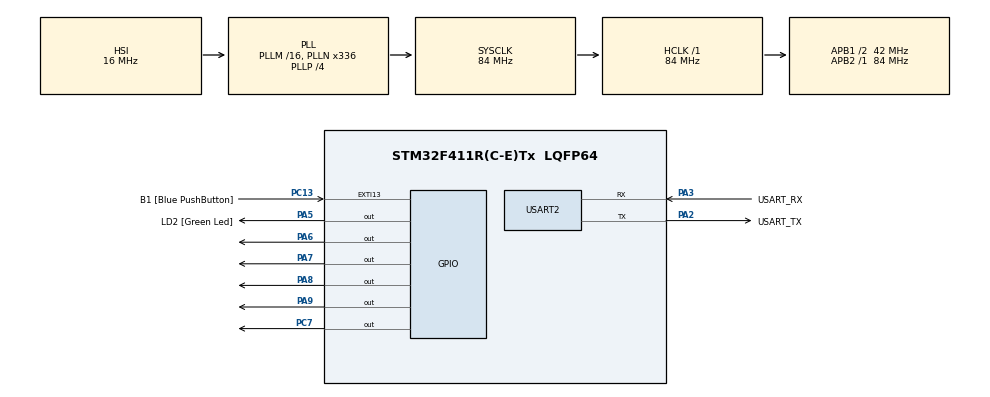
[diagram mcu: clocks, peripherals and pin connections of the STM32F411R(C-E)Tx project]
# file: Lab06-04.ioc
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FREERTOS.Queues01=task_queue,16,uint32_t,0,Dynamic,NULL,NULL
FREERTOS.Tasks01=defaultTask,24,128,StartDefaultTask,Default,NULL,Dynamic,NULL,NULL;led_blue,8,128,led_thread_blue,Default,NULL,Dynamic,NULL,NULL;led_green,8,128,led_thread_green,Default,NULL,Dynamic,NULL,NULL;led_white,8,128,led_thread_white,Default,NULL,Dynamic,NULL,NULL;led_red,8,128,led_thread_red,Default,NULL,Dynamic,NULL,NULL;uart1,24,128,uart_thread,Default,NULL,Dynamic,NULL,NULL;uart2,24,128,uart2_thread,Default,NULL,Dynamic,NULL,NULL;queue,24,128,queue_thread,Default,NULL,Dynamic,NULL,NULL
FREERTOS.configUSE_NEWLIB_REENTRANT=1
Mcu.Family=STM32F4
Mcu.Name=STM32F411R(C-E)Tx
Mcu.Package=LQFP64
NVIC.PriorityGroup=NVIC_PRIORITYGROUP_4
PA13.GPIO_Label=TMS
PA13.Mode=Serial_Wire
PA13.Signal=SYS_JTMS-SWDIO
PA14.GPIO_Label=TCK
PA14.Mode=Serial_Wire
PA14.Signal=SYS_JTCK-SWCLK
PA2.GPIO_Label=USART_TX
PA2.Mode=Asynchronous
PA2.Signal=USART2_TX
PA3.GPIO_Label=USART_RX
PA3.Mode=Asynchronous
PA3.Signal=USART2_RX
PA5.GPIO_Label=LD2 [Green Led]
PA5.Signal=GPIO_Output
PA6.Signal=GPIO_Output
PA7.Signal=GPIO_Output
PA8.Signal=GPIO_Output
PA9.Signal=GPIO_Output
PB3.GPIO_Label=SWO
PB3.Signal=SYS_JTDO-SWO
PC13-ANTI_TAMP.GPIO_Label=B1 [Blue PushButton]
PC13-ANTI_TAMP.GPIO_ModeDefaultEXTI=GPIO_MODE_IT_FALLING
PC13-ANTI_TAMP.Signal=GPXTI13
PC14-OSC32_IN.Mode=LSE-External-Oscillator
PC14-OSC32_IN.Signal=RCC_OSC32_IN
PC15-OSC32_OUT.Mode=LSE-External-Oscillator
PC15-OSC32_OUT.Signal=RCC_OSC32_OUT
PC7.Signal=GPIO_Output
PH0\ -\ OSC_IN.Mode=HSE-External-Clock-Source
PH0\ -\ OSC_IN.Signal=RCC_OSC_IN
PH1\ -\ OSC_OUT.Mode=HSE-External-Clock-Source
PH1\ -\ OSC_OUT.Signal=RCC_OSC_OUT
ProjectManager.HeapSize=0x200
ProjectManager.StackSize=0x400
ProjectManager.TargetToolchain=STM32CubeIDE
RCC.48MHZClocksFreq_Value=84000000
RCC.AHBFreq_Value=84000000
RCC.APB1CLKDivider=RCC_HCLK_DIV2
RCC.APB1Freq_Value=42000000
RCC.APB1TimFreq_Value=84000000
RCC.APB2Freq_Value=84000000
RCC.APB2TimFreq_Value=84000000
RCC.CortexFreq_Value=84000000
RCC.FLatency-AdvancedSettings=FLASH_LATENCY_2
RCC.HCLKFreq_Value=84000000
RCC.HSE_VALUE=8000000
RCC.HSI_VALUE=16000000
RCC.PLLN=336
RCC.PLLP=RCC_PLLP_DIV4
RCC.SYSCLKFreq_VALUE=84000000
RCC.SYSCLKSource=RCC_SYSCLKSOURCE_PLLCLK
RCC.VCOOutputFreq_Value=336000000
USART2.VirtualMode=VM_ASYNC
VP_FREERTOS_VS_CMSIS_V2.Mode=CMSIS_V2
board=NUCLEO-F411RE

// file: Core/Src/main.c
/* USER CODE BEGIN Header */
/**
  ******************************************************************************
  * @file           : main.c
  * @brief          : Main program body
  ******************************************************************************
  * @attention
  *
  * Copyright (c) 2024 STMicroelectronics.
  * All rights reserved.
  *
  * This software is licensed under terms that can be found in the LICENSE file
  * in the root directory of this software component.
  * If no LICENSE file comes with this software, it is provided AS-IS.
  *
  ******************************************************************************
  */
/* USER CODE END Header */
#include "main.h"
#include "cmsis_os.h"

/* USER CODE BEGIN PTD */

typedef struct {                                 // Message object structure
  int    TID;
  int    ID;
} T_MEAS;
/* USER CODE END PTD */

UART_HandleTypeDef huart2;

/* Definitions for defaultTask */
osThreadId_t defaultTaskHandle;
const osThreadAttr_t defaultTask_attributes = {
  .name = "defaultTask",
  .stack_size = 128 * 4,
  .priority = (osPriority_t) osPriorityNormal,
};
/* Definitions for led_blue */
osThreadId_t led_blueHandle;
const osThreadAttr_t led_blue_attributes = {
  .name = "led_blue",
  .stack_size = 128 * 4,
  .priority = (osPriority_t) osPriorityLow,
};
/* Definitions for led_green */
osThreadId_t led_greenHandle;
const osThreadAttr_t led_green_attributes = {
  .name = "led_green",
  .stack_size = 128 * 4,
  .priority = (osPriority_t) osPriorityLow,
};
/* Definitions for led_white */
osThreadId_t led_whiteHandle;
const osThreadAttr_t led_white_attributes = {
  .name = "led_white",
  .stack_size = 128 * 4,
  .priority = (osPriority_t) osPriorityLow,
};
/* Definitions for led_red */
osThreadId_t led_redHandle;
const osThreadAttr_t led_red_attributes = {
  .name = "led_red",
  .stack_size = 128 * 4,
  .priority = (osPriority_t) osPriorityLow,
};
/* Definitions for uart1 */
osThreadId_t uart1Handle;
const osThreadAttr_t uart1_attributes = {
  .name = "uart1",
  .stack_size = 128 * 4,
  .priority = (osPriority_t) osPriorityNormal,
};
/* Definitions for uart2 */
osThreadId_t uart2Handle;
const osThreadAttr_t uart2_attributes = {
  .name = "uart2",
  .stack_size = 128 * 4,
  .priority = (osPriority_t) osPriorityNormal,
};
/* Definitions for queue */
osThreadId_t queueHandle;
const osThreadAttr_t queue_attributes = {
  .name = "queue",
  .stack_size = 128 * 4,
  .priority = (osPriority_t) osPriorityNormal,
};
/* Definitions for task_queue */
osMessageQueueId_t task_queueHandle;
const osMessageQueueAttr_t task_queue_attributes = {
  .name = "task_queue"
};

void SystemClock_Config(void);
static void MX_GPIO_Init(void);
static void MX_USART2_UART_Init(void);
void StartDefaultTask(void *argument);
void led_thread_blue(void *argument);
void led_thread_green(void *argument);
void led_thread_white(void *argument);
void led_thread_red(void *argument);
void uart_thread(void *argument);
void uart2_thread(void *argument);
void queue_thread(void *argument);

int main(void)
{

  /* MCU Configuration--------------------------------------------------------*/

  /* Reset of all peripherals, Initializes the Flash interface and the Systick. */
  HAL_Init();

  /* Configure the system clock */
  SystemClock_Config();

  /* Initialize all configured peripherals */
  MX_GPIO_Init();
  MX_USART2_UART_Init();

  /* Init scheduler */
  osKernelInitialize();

  /* Create the queue(s) */
  /* creation of task_queue */
  task_queueHandle = osMessageQueueNew (16, sizeof(T_MEAS), &task_queue_attributes);

  /* Create the thread(s) */
  /* creation of defaultTask */
  defaultTaskHandle = osThreadNew(StartDefaultTask, NULL, &defaultTask_attributes);

  /* creation of led_blue */
  led_blueHandle = osThreadNew(led_thread_blue, NULL, &led_blue_attributes);

  /* creation of led_green */
  led_greenHandle = osThreadNew(led_thread_green, NULL, &led_green_attributes);

  /* creation of led_white */
  led_whiteHandle = osThreadNew(led_thread_white, NULL, &led_white_attributes);

  /* creation of led_red */
  led_redHandle = osThreadNew(led_thread_red, NULL, &led_red_attributes);

  /* creation of uart1 */
  uart1Handle = osThreadNew(uart_thread, NULL, &uart1_attributes);

  /* creation of uart2 */
  uart2Handle = osThreadNew(uart2_thread, NULL, &uart2_attributes);

  /* creation of queue */
  queueHandle = osThreadNew(queue_thread, NULL, &queue_attributes);

  /* Start scheduler */
  osKernelStart();

  /* We should never get here as control is now taken by the scheduler */
  /* Infinite loop */
  while (1)
  {

  }
}

void SystemClock_Config(void)
{
  RCC_OscInitTypeDef RCC_OscInitStruct = {0};
  RCC_ClkInitTypeDef RCC_ClkInitStruct = {0};

  /** Configure the main internal regulator output voltage
  */
  __HAL_RCC_PWR_CLK_ENABLE();
  __HAL_PWR_VOLTAGESCALING_CONFIG(PWR_REGULATOR_VOLTAGE_SCALE1);

  /** Initializes the RCC Oscillators according to the specified parameters
  * in the RCC_OscInitTypeDef structure.
  */
  RCC_OscInitStruct.OscillatorType = RCC_OSCILLATORTYPE_HSI;
  RCC_OscInitStruct.HSIState = RCC_HSI_ON;
  RCC_OscInitStruct.HSICalibrationValue = RCC_HSICALIBRATION_DEFAULT;
  RCC_OscInitStruct.PLL.PLLState = RCC_PLL_ON;
  RCC_OscInitStruct.PLL.PLLSource = RCC_PLLSOURCE_HSI;
  RCC_OscInitStruct.PLL.PLLM = 16;
  RCC_OscInitStruct.PLL.PLLN = 336;
  RCC_OscInitStruct.PLL.PLLP = RCC_PLLP_DIV4;
  RCC_OscInitStruct.PLL.PLLQ = 4;
  if (HAL_RCC_OscConfig(&RCC_OscInitStruct) != HAL_OK)
  {
    Error_Handler();
  }

  /** Initializes the CPU, AHB and APB buses clocks
  */
  RCC_ClkInitStruct.ClockType = RCC_CLOCKTYPE_HCLK|RCC_CLOCKTYPE_SYSCLK
                              |RCC_CLOCKTYPE_PCLK1|RCC_CLOCKTYPE_PCLK2;
  RCC_ClkInitStruct.SYSCLKSource = RCC_SYSCLKSOURCE_PLLCLK;
  RCC_ClkInitStruct.AHBCLKDivider = RCC_SYSCLK_DIV1;
  RCC_ClkInitStruct.APB1CLKDivider = RCC_HCLK_DIV2;
  RCC_ClkInitStruct.APB2CLKDivider = RCC_HCLK_DIV1;

  if (HAL_RCC_ClockConfig(&RCC_ClkInitStruct, FLASH_LATENCY_2) != HAL_OK)
  {
    Error_Handler();
  }
}

static void MX_USART2_UART_Init(void)
{

  huart2.Instance = USART2;
  huart2.Init.BaudRate = 115200;
  huart2.Init.WordLength = UART_WORDLENGTH_8B;
  huart2.Init.StopBits = UART_STOPBITS_1;
  huart2.Init.Parity = UART_PARITY_NONE;
  huart2.Init.Mode = UART_MODE_TX_RX;
  huart2.Init.HwFlowCtl = UART_HWCONTROL_NONE;
  huart2.Init.OverSampling = UART_OVERSAMPLING_16;
  if (HAL_UART_Init(&huart2) != HAL_OK)
  {
    Error_Handler();
  }

}

static void MX_GPIO_Init(void)
{
  GPIO_InitTypeDef GPIO_InitStruct = {0};

  /* GPIO Ports Clock Enable */
  __HAL_RCC_GPIOC_CLK_ENABLE();
  __HAL_RCC_GPIOH_CLK_ENABLE();
  __HAL_RCC_GPIOA_CLK_ENABLE();
  __HAL_RCC_GPIOB_CLK_ENABLE();

  /*Configure GPIO pin Output Level */
  HAL_GPIO_WritePin(GPIOA, LD2_Pin|GPIO_PIN_6|GPIO_PIN_7|GPIO_PIN_8
                          |GPIO_PIN_9, GPIO_PIN_RESET);

  /*Configure GPIO pin Output Level */
  HAL_GPIO_WritePin(GPIOC, GPIO_PIN_7, GPIO_PIN_RESET);

  /*Configure GPIO pin : B1_Pin */
  GPIO_InitStruct.Pin = B1_Pin;
  GPIO_InitStruct.Mode = GPIO_MODE_IT_FALLING;
  GPIO_InitStruct.Pull = GPIO_NOPULL;
  HAL_GPIO_Init(B1_GPIO_Port, &GPIO_InitStruct);

  /*Configure GPIO pins : LD2_Pin PA6 PA7 PA8
                           PA9 */
  GPIO_InitStruct.Pin = LD2_Pin|GPIO_PIN_6|GPIO_PIN_7|GPIO_PIN_8
                          |GPIO_PIN_9;
  GPIO_InitStruct.Mode = GPIO_MODE_OUTPUT_PP;
  GPIO_InitStruct.Pull = GPIO_NOPULL;
  GPIO_InitStruct.Speed = GPIO_SPEED_FREQ_LOW;
  HAL_GPIO_Init(GPIOA, &GPIO_InitStruct);

  /*Configure GPIO pin : PC7 */
  GPIO_InitStruct.Pin = GPIO_PIN_7;
  GPIO_InitStruct.Mode = GPIO_MODE_OUTPUT_PP;
  GPIO_InitStruct.Pull = GPIO_NOPULL;
  GPIO_InitStruct.Speed = GPIO_SPEED_FREQ_LOW;
  HAL_GPIO_Init(GPIOC, &GPIO_InitStruct);

}

void StartDefaultTask(void *argument)
{
  /* USER CODE BEGIN 5 */
  /* Infinite loop */
  for(;;)
  {
//	HAL_GPIO_WritePin(GPIOA,GPIO_PIN_5,GPIO_PIN_SET);
    osDelay(1);
  }
  /* USER CODE END 5 */
}

void led_thread_blue(void *argument)
{
  /* USER CODE BEGIN led_thread_blue */
  /* Infinite loop */
  for(;;)
  {
	HAL_GPIO_TogglePin(GPIOA, GPIO_PIN_6);
    osDelay(50);
  }
  /* USER CODE END led_thread_blue */
}

void led_thread_green(void *argument)
{
  /* USER CODE BEGIN led_thread_green */
  /* Infinite loop */
  for(;;)
  {
    HAL_GPIO_TogglePin(GPIOA, GPIO_PIN_7);
    osDelay(18);
  }
  /* USER CODE END led_thread_green */
}

void led_thread_white(void *argument)
{
  /* USER CODE BEGIN led_thread_white */
  /* Infinite loop */
  for(;;)
  {
	HAL_GPIO_TogglePin(GPIOC, GPIO_PIN_7);
    osDelay(64);
  }
  /* USER CODE END led_thread_white */
}

void led_thread_red(void *argument)
{
  /* USER CODE BEGIN led_thread_red */
  /* Infinite loop */
  for(;;)
  {
    HAL_GPIO_TogglePin(GPIOA, GPIO_PIN_9);
    osDelay(128);
  }
  /* USER CODE END led_thread_red */
}

void uart_thread(void *argument)
{
  /* USER CODE BEGIN uart_thread */
	T_MEAS    mptr;
	int threadId = 0;
	int idx = 0;
	for (;;) {
		mptr.ID = idx;
		mptr.TID = threadId;
		osMessageQueuePut(task_queueHandle, &mptr, 0,osWaitForever);
		idx++;
		osDelay(100);
	}
  /* USER CODE END uart_thread */
}

void uart2_thread(void *argument)
{
  /* USER CODE BEGIN uart2_thread */
	T_MEAS    mptr;
	int threadId = 1;
	int idx = 0;
	for (;;) {
		mptr.ID = idx;
		mptr.TID = threadId;
		osMessageQueuePut(task_queueHandle, &mptr, 0,osWaitForever);
		idx++;
		osDelay(100);
	}
  /* USER CODE END uart2_thread */
}

void queue_thread(void *argument)
{
  /* USER CODE BEGIN queue_thread */
	  T_MEAS  rpt;
	  osStatus_t  status;
	  char buffer[32];
	  for (;;) {
	    status = osMessageQueueGet(task_queueHandle,&rpt,NULL,1000);  // wait for message
	    if (status == osOK) {
	      sprintf(buffer,"TID: %d %d\r\n", rpt.TID,rpt.ID);
	      HAL_UART_Transmit(&huart2, buffer, 32, 1000);
	      osDelay(100);
	    }
	  }
  /* USER CODE END queue_thread */
}

void Error_Handler(void)
{
  __disable_irq();
  while (1)
  {
  }
}
